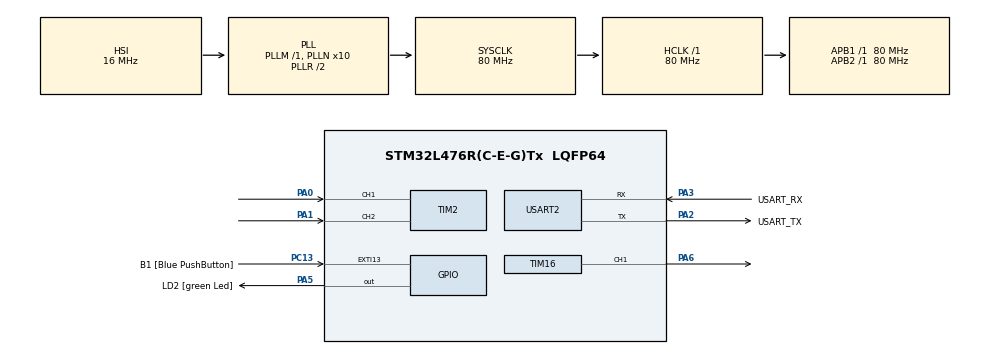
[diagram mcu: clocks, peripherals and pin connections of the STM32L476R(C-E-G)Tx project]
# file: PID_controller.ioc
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FREERTOS.Tasks01=LED_task,24,128,LED_task_init,Default,NULL,Dynamic,NULL,NULL;PID_task,24,256,PID_task_init,Default,NULL,Dynamic,NULL,NULL;Setpoint_task,24,128,Setpoint_task_init,Default,NULL,Dynamic,NULL,NULL
FREERTOS.configTOTAL_HEAP_SIZE=10000
Mcu.Family=STM32L4
Mcu.Name=STM32L476R(C-E-G)Tx
Mcu.Package=LQFP64
NVIC.PriorityGroup=NVIC_PRIORITYGROUP_4
NVIC.TIM1_UP_TIM16_IRQn=true\:5\:0\:false\:false\:true\:true\:true\:true\:true
NVIC.TIM6_DAC_IRQn=true\:15\:0\:false\:false\:true\:false\:false\:true\:true
NVIC.TimeBase=TIM6_DAC_IRQn
NVIC.TimeBaseIP=TIM6
PA0.Signal=S_TIM2_CH1
PA1.Signal=S_TIM2_CH2
PA13\ (JTMS-SWDIO).GPIO_Label=TMS
PA13\ (JTMS-SWDIO).Mode=Serial_Wire
PA13\ (JTMS-SWDIO).Signal=SYS_JTMS-SWDIO
PA14\ (JTCK-SWCLK).GPIO_Label=TCK
PA14\ (JTCK-SWCLK).Mode=Serial_Wire
PA14\ (JTCK-SWCLK).Signal=SYS_JTCK-SWCLK
PA2.GPIO_Label=USART_TX
PA2.GPIO_Mode=GPIO_MODE_AF_PP
PA2.GPIO_PuPd=GPIO_NOPULL
PA2.GPIO_Speed=GPIO_SPEED_FREQ_VERY_HIGH
PA2.Mode=Asynchronous
PA2.Signal=USART2_TX
PA3.GPIO_Label=USART_RX
PA3.GPIO_Mode=GPIO_MODE_AF_PP
PA3.GPIO_PuPd=GPIO_NOPULL
PA3.GPIO_Speed=GPIO_SPEED_FREQ_VERY_HIGH
PA3.Mode=Asynchronous
PA3.Signal=USART2_RX
PA5.GPIO_Label=LD2 [green Led]
PA5.GPIO_ModeDefaultOutputPP=GPIO_MODE_OUTPUT_PP
PA5.GPIO_PuPd=GPIO_NOPULL
PA5.GPIO_Speed=GPIO_SPEED_FREQ_LOW
PA5.Signal=GPIO_Output
PA6.Signal=S_TIM16_CH1
PB3\ (JTDO-TRACESWO).GPIO_Label=SWO
PB3\ (JTDO-TRACESWO).Signal=SYS_JTDO-SWO
PC13.GPIO_Label=B1 [Blue PushButton]
PC13.GPIO_ModeDefaultEXTI=GPIO_MODE_IT_FALLING
PC13.GPIO_PuPd=GPIO_NOPULL
PC13.Signal=GPXTI13
PC14-OSC32_IN\ (PC14).Mode=LSE-External-Oscillator
PC14-OSC32_IN\ (PC14).Signal=RCC_OSC32_IN
PC15-OSC32_OUT\ (PC15).Mode=LSE-External-Oscillator
PC15-OSC32_OUT\ (PC15).Signal=RCC_OSC32_OUT
PH0-OSC_IN\ (PH0).Signal=RCC_OSC_IN
PH1-OSC_OUT\ (PH1).Signal=RCC_OSC_OUT
ProjectManager.HeapSize=0x200
ProjectManager.StackSize=0x400
ProjectManager.TargetToolchain=STM32CubeIDE
RCC.ADCFreq_Value=64000000
RCC.AHBFreq_Value=80000000
RCC.APB1Freq_Value=80000000
RCC.APB1TimFreq_Value=80000000
RCC.APB2Freq_Value=80000000
RCC.APB2TimFreq_Value=80000000
RCC.CortexFreq_Value=80000000
RCC.HCLKFreq_Value=80000000
RCC.HSE_VALUE=8000000
RCC.HSI_VALUE=16000000
RCC.MSI_VALUE=4000000
RCC.PLLN=10
RCC.PLLSourceVirtual=RCC_PLLSOURCE_HSI
RCC.PREFETCH_ENABLE=1
RCC.SYSCLKFreq_VALUE=80000000
RCC.SYSCLKSource=RCC_SYSCLKSOURCE_PLLCLK
RCC.USBFreq_Value=64000000
RCC.VCOOutputFreq_Value=160000000
SH.S_TIM16_CH1.0=TIM16_CH1,PWM Generation1 CH1
SH.S_TIM2_CH1.0=TIM2_CH1,Encoder_Interface
SH.S_TIM2_CH2.0=TIM2_CH2,Encoder_Interface
TIM16.Channel=TIM_CHANNEL_1
TIM16.Period=3999
TIM16.Prescaler=0
TIM2.IC1Filter=15
TIM2.IC2Filter=15
USART2.VirtualMode-Asynchronous=VM_ASYNC
VP_FREERTOS_VS_CMSIS_V2.Mode=CMSIS_V2
VP_SYS_VS_tim6.Mode=TIM6
VP_TIM16_VS_ClockSourceINT.Mode=Enable_Timer
board=NUCLEO-L476RG

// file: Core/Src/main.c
/* USER CODE BEGIN Header */
/**
  ******************************************************************************
  * @file           : main.c
  * @brief          : Main program body
  ******************************************************************************
  * @attention
  *
  * Copyright (c) 2026 STMicroelectronics.
  * All rights reserved.
  *
  * This software is licensed under terms that can be found in the LICENSE file
  * in the root directory of this software component.
  * If no LICENSE file comes with this software, it is provided AS-IS.
  *
  ******************************************************************************
  */
/* USER CODE END Header */
#include "main.h"
#include "cmsis_os.h"
#include "tim.h"
#include "usart.h"
#include "gpio.h"

void SystemClock_Config(void);
void MX_FREERTOS_Init(void);

int main(void)
{

  /* MCU Configuration--------------------------------------------------------*/

  /* Reset of all peripherals, Initializes the Flash interface and the Systick. */
  HAL_Init();

  /* Configure the system clock */
  SystemClock_Config();

  /* Initialize all configured peripherals */
  MX_GPIO_Init();
  MX_USART2_UART_Init();
  MX_TIM2_Init();
  MX_TIM16_Init();

  /* Init scheduler */
  osKernelInitialize();  /* Call init function for freertos objects (in cmsis_os2.c) */
  MX_FREERTOS_Init();

  /* Start scheduler */
  osKernelStart();

  /* We should never get here as control is now taken by the scheduler */

  /* Infinite loop */
  while (1)
  {

  }
}

void SystemClock_Config(void)
{
  RCC_OscInitTypeDef RCC_OscInitStruct = {0};
  RCC_ClkInitTypeDef RCC_ClkInitStruct = {0};

  /** Configure the main internal regulator output voltage
  */
  if (HAL_PWREx_ControlVoltageScaling(PWR_REGULATOR_VOLTAGE_SCALE1) != HAL_OK)
  {
    Error_Handler();
  }

  /** Initializes the RCC Oscillators according to the specified parameters
  * in the RCC_OscInitTypeDef structure.
  */
  RCC_OscInitStruct.OscillatorType = RCC_OSCILLATORTYPE_HSI;
  RCC_OscInitStruct.HSIState = RCC_HSI_ON;
  RCC_OscInitStruct.HSICalibrationValue = RCC_HSICALIBRATION_DEFAULT;
  RCC_OscInitStruct.PLL.PLLState = RCC_PLL_ON;
  RCC_OscInitStruct.PLL.PLLSource = RCC_PLLSOURCE_HSI;
  RCC_OscInitStruct.PLL.PLLM = 1;
  RCC_OscInitStruct.PLL.PLLN = 10;
  RCC_OscInitStruct.PLL.PLLP = RCC_PLLP_DIV7;
  RCC_OscInitStruct.PLL.PLLQ = RCC_PLLQ_DIV2;
  RCC_OscInitStruct.PLL.PLLR = RCC_PLLR_DIV2;
  if (HAL_RCC_OscConfig(&RCC_OscInitStruct) != HAL_OK)
  {
    Error_Handler();
  }

  /** Initializes the CPU, AHB and APB buses clocks
  */
  RCC_ClkInitStruct.ClockType = RCC_CLOCKTYPE_HCLK|RCC_CLOCKTYPE_SYSCLK
                              |RCC_CLOCKTYPE_PCLK1|RCC_CLOCKTYPE_PCLK2;
  RCC_ClkInitStruct.SYSCLKSource = RCC_SYSCLKSOURCE_PLLCLK;
  RCC_ClkInitStruct.AHBCLKDivider = RCC_SYSCLK_DIV1;
  RCC_ClkInitStruct.APB1CLKDivider = RCC_HCLK_DIV1;
  RCC_ClkInitStruct.APB2CLKDivider = RCC_HCLK_DIV1;

  if (HAL_RCC_ClockConfig(&RCC_ClkInitStruct, FLASH_LATENCY_4) != HAL_OK)
  {
    Error_Handler();
  }
}

void HAL_TIM_PeriodElapsedCallback(TIM_HandleTypeDef *htim)
{
  if (htim->Instance == TIM6)
  {
    HAL_IncTick();
  }
}

void Error_Handler(void)
{
  __disable_irq();
  while (1)
  {
  }
}

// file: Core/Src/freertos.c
/* USER CODE BEGIN Header */
/**
  ******************************************************************************
  * File Name          : freertos.c
  * Description        : Code for freertos applications
  ******************************************************************************
  * @attention
  *
  * Copyright (c) 2026 STMicroelectronics.
  * All rights reserved.
  *
  * This software is licensed under terms that can be found in the LICENSE file
  * in the root directory of this software component.
  * If no LICENSE file comes with this software, it is provided AS-IS.
  *
  ******************************************************************************
  */
/* USER CODE END Header */

#include "FreeRTOS.h"
#include "task.h"
#include "main.h"
#include "cmsis_os.h"

/* USER CODE BEGIN Includes */

#include "PID_controller.h"
#include "tim.h"

/* USER CODE END Includes */

/* USER CODE BEGIN Variables */

float setpoint_gl; /// global setpoint variable

/* USER CODE END Variables */
/* Definitions for LED_task */
osThreadId_t LED_taskHandle;
const osThreadAttr_t LED_task_attributes = {
  .name = "LED_task",
  .stack_size = 128 * 4,
  .priority = (osPriority_t) osPriorityNormal,
};
/* Definitions for PID_task */
osThreadId_t PID_taskHandle;
const osThreadAttr_t PID_task_attributes = {
  .name = "PID_task",
  .stack_size = 256 * 4,
  .priority = (osPriority_t) osPriorityNormal,
};
/* Definitions for Setpoint_task */
osThreadId_t Setpoint_taskHandle;
const osThreadAttr_t Setpoint_task_attributes = {
  .name = "Setpoint_task",
  .stack_size = 128 * 4,
  .priority = (osPriority_t) osPriorityNormal,
};

void LED_task_init(void *argument);
void PID_task_init(void *argument);
void Setpoint_task_init(void *argument);

void MX_FREERTOS_Init(void); /* (MISRA C 2004 rule 8.1) */

void MX_FREERTOS_Init(void) {

  /* Create the thread(s) */
  /* creation of LED_task */
  LED_taskHandle = osThreadNew(LED_task_init, NULL, &LED_task_attributes);

  /* creation of PID_task */
  PID_taskHandle = osThreadNew(PID_task_init, NULL, &PID_task_attributes);

  /* creation of Setpoint_task */
  Setpoint_taskHandle = osThreadNew(Setpoint_task_init, NULL, &Setpoint_task_attributes);

}

void LED_task_init(void *argument)
{
  /* USER CODE BEGIN LED_task_init */
  /* Infinite loop */
  for(;;)
  {
	HAL_GPIO_TogglePin(LD2_GPIO_Port, LD2_Pin);
    osDelay(500);
  }
  /* USER CODE END LED_task_init */
}

void PID_task_init(void *argument)
{
  /* USER CODE BEGIN PID_task_init */
	PID_HandleTypeDef hPID1;
	const float Kp = 1.0;
	const float Ti = 5.0;
	const float Td = 0.0;
	const float Ts = 0.1;

	float _y_set = 0.0f;
	float _y =  0.0f;

	PID_controller_init(&hPID1, Kp, Ti, Td, Ts, true, &htim16, TIM_CHANNEL_1);
	uint32_t tick = osKernelGetTickCount();

  /* Infinite loop */
  for(;;)
  {
	  float U = PID_calc_U(&hPID1, _y, _y_set);
	  PWM_set_output(U, &hPID1);

	  tick+= (100 * osKernelGetTickFreq())/ 1000;

    osDelayUntil(tick);
  }
  /* USER CODE END PID_task_init */
}

void Setpoint_task_init(void *argument)
{
  /* USER CODE BEGIN Setpoint_task_init */

	uint16_t y_max = 300; /// eg. maximum expected DC motor speed in [RPM]

	float setpoint_array[5] = {0.0, 0.5, 1.0, 0.5, 0.8}; /// varying setpoint levels

	uint8_t i = 0;
  /* Infinite loop */
  for(;;)
  {

	setpoint_gl = setpoint_array[i++] * y_max;

	if (i>=5)
	{
		i = 0;
	}
    osDelay(5000); /// Setpoint value changes every 5 seconds

  }
  /* USER CODE END Setpoint_task_init */
}
